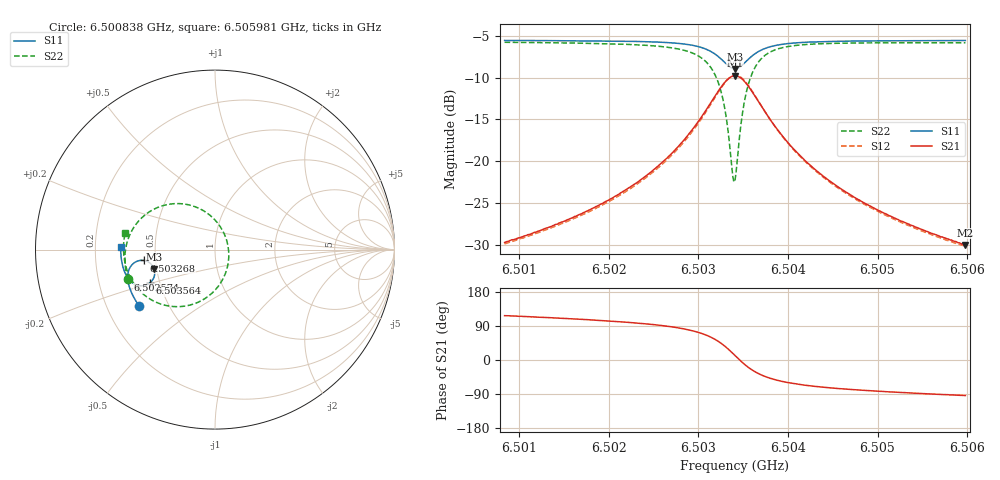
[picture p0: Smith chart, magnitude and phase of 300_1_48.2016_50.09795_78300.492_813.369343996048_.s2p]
#  HZ  S  RI  R  50.00
! Rohde & Schwarz Vector Network Analyzer
! Rohde-Schwarz,ZNB20-2Port,1311601062101988,3.16
! Created: UTC 3/20/2024, 11:49:32 AM
! freq[Hz]  re:S11  im:S11  re:S21  im:S21  re:S12  im:S12  re:S22  im:S22
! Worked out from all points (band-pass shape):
!   401 points, 6.500838 GHz to 6.505981 GHz, reference 50 ohm
!   highest |S21| = -9.79 dB at 6.503409 GHz (marker M1); lowest = -30.0 dB at 6.505981 GHz (marker M2)
!   |S21| within 3 dB of the highest: 6.503152 GHz to 6.503666 GHz (514.5 kHz wide, 0.00791 % of centre)
!   lowest |S11| = -9.0 dB at 6.503409 GHz (marker M3), VSWR 2.11, Z = 24.2 - j6.06 ohm
!   |S11| at or under -10 dB: nowhere
!   |S22| runs from -22.5 to -5.8 dB; largest |S21 - S12| = 0.011
!   S11 on the Smith chart (normalised r, x): 6.500838 GHz: 0.34, -0.30; 6.502574 GHz: 0.33, -0.15; 6.503268 GHz: 0.43, -0.06; 6.503564 GHz: 0.44, -0.20; 6.505981 GHz: 0.31, +0.01
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6.5008378e9  -0.4211 -0.316  -0.0148 0.0292  -0.0133 0.0293  -0.4865 -0.164
6.5016992e9  -0.4588 -0.2533  -0.0143 0.0465  -0.0121 0.0462  -0.5016 -0.0744
6.5021621e9  -0.4756 -0.2131  -0.0118 0.065  -0.00898 0.0639  -0.4997 -0.0104
6.5025606e9  -0.4855 -0.1701  -0.00296 0.0946  0.000532 0.0923  -0.4812 0.0667
6.5025735e9  -0.4857 -0.1685  -0.00237 0.0959  0.00107 0.0936  -0.4799 0.0699
6.5028178e9  -0.4851 -0.1333  0.0157 0.1289  0.0195 0.125  -0.4417 0.1392
6.5029978e9  -0.4738 -0.1001  0.0502 0.1648  0.0534 0.1594  -0.3737 0.205
6.5031649e9  -0.4393 -0.0671  0.1272 0.1978  0.1285 0.1916  -0.2322 0.2556
6.5032678e9  -0.3968 -0.0603  0.2121 0.189  0.2123 0.1837  -0.0849 0.2278
6.5033192e9  -0.3716 -0.0689  0.2601 0.1611  0.2608 0.1566  -0.00533 0.1706
6.5033835e9  -0.3454 -0.095  0.3071 0.0982  0.3094 0.0933  0.0656 0.0496
6.5034092e9  -0.339 -0.1094  0.317 0.0665  0.3202 0.0606  0.0762 -0.00961
6.5034221e9  -0.3371 -0.117  0.3197 0.0499  0.3229 0.0435  0.0769 -0.04
6.5034992e9  -0.3431 -0.1613  0.3027 -0.0436  0.3046 -0.0532  0.0193 -0.2031
6.5035635e9  -0.3641 -0.1868  0.2606 -0.0968  0.2594 -0.1078  -0.0756 -0.2843
6.5036664e9  -0.403 -0.2016  0.1872 -0.1323  0.1818 -0.1416  -0.2233 -0.3177
6.5038335e9  -0.4485 -0.1918  0.1067 -0.1296  0.1 -0.1344  -0.368 -0.2716
6.5040135e9  -0.4756 -0.1705  0.0632 -0.1099  0.057 -0.1121  -0.4389 -0.2078
6.5042707e9  -0.4962 -0.1404  0.0334 -0.086  0.0288 -0.0866  -0.4816 -0.1364
6.5046693e9  -0.5121 -0.0995  0.0143 -0.0628  0.0112 -0.0623  -0.5042 -0.0598
6.5051321e9  -0.5211 -0.0571  0.00495 -0.047  0.00259 -0.0464  -0.5099 0.00383
6.5059807e9  -0.5257 0.0144  -0.00207 -0.0316  -0.0034 -0.0309  -0.5016 0.0923
